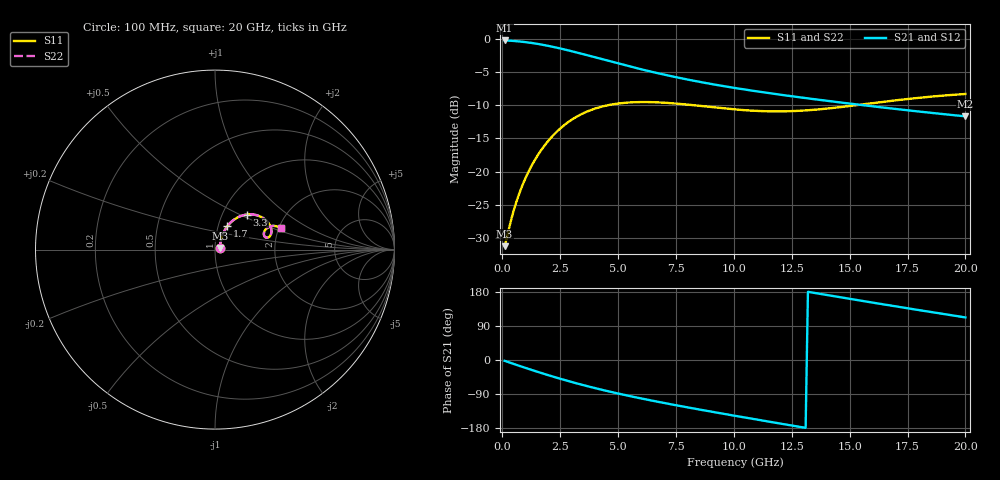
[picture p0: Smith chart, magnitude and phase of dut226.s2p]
! Touchstone file exported from HFSS 2024.1.0
!  File:  C:/UserFiles/LocalFiles/RDL_TSV_Batchsim/temp_RDL_TSV_226_1779450616.aedt
!  Generated:  08:07:08 PM May 22, 2026
!  Design:  RDL_TSV
!  Project:  temp_RDL_TSV_226_1779450616
!  Setup:  Setup1
!  Solution:  Sweep
! Variables:
!  dtsv = 7.03um
!  hbump = 3um
!  htsv = 81.23um
!  ldown = 590.29um
!  lrdl = 453.11um
!  p = 40
!  p1 = 58.65um
!  rhole = 10um
!  subl = 3583.31um
!  t = 450um
!  tdown = 3.5um
!  trdl = 2.37um
!  viad = 10um
!  wdown = 11.94um
!  wrdl = 27.11um
!  xbump = 18um
# GHz S MA R 50.000000
! Terminal data exported
! Port[1] = TM1_1_T1
! Port[2] = TM1_4_T1
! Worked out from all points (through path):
!   200 points, 100 MHz to 20 GHz, reference 50 ohm
!   highest |S21| = -0.23 dB at 100 MHz (marker M1); lowest = -11.7 dB at 20 GHz (marker M2)
!   group delay of S21, straight-line fit = 32.3 ps
!   lowest |S11| = -31.2 dB at 100 MHz (marker M3), VSWR 1.06, Z = 52.7 + j0.923 ohm
!   |S11| at or under -10 dB: start of sweep to 4.555 GHz; 8.278 GHz to 15.27 GHz (6.992 GHz wide, 59.4 % of centre)
!   |S22| runs from -31.2 to -8.3 dB; largest |S21 - S12| = 2e-14
!   S11 on the Smith chart (normalised r, x): 100 MHz: 1.05, +0.02; 1.7 GHz: 1.11, +0.29; 3.3 GHz: 1.30, +0.55; 20 GHz: 2.04, +0.58
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0.1  0.0274 18.6  0.9739 -2.2  0.9739 -2.2  0.0274 18.6
! Gamma 0 0 0 0
! Port Impedance 50 0 50 0
0.5  0.05138 52.6  0.9654 -10.6  0.9654 -10.6  0.05137 52.6
0.8  0.07349 60.0  0.9549 -16.8  0.9549 -16.8  0.07349 60.0
1.2  0.1053 63.1  0.9363 -24.9  0.9363 -24.9  0.1053 63.1
1.7  0.1468 62.2  0.9064 -34.6  0.9064 -34.6  0.1469 62.2
2.1  0.1799 59.5  0.8783 -42.2  0.8783 -42.2  0.1799 59.5
2.5  0.2112 55.9  0.8478 -49.4  0.8478 -49.4  0.2113 56.0
2.9  0.2397 51.8  0.8158 -56.4  0.8158 -56.4  0.2398 51.9
3.3  0.2645 47.6  0.7834 -63.1  0.7834 -63.1  0.2647 47.6
3.5  0.2754 45.4  0.7671 -66.3  0.7671 -66.3  0.2756 45.5
4.2  0.3055 38.2  0.7119 -77.1  0.7119 -77.1  0.3058 38.3
5.1  0.3274 30.1  0.6468 -89.8  0.6468 -89.8  0.3277 30.1
5.9  0.3342 24.2  0.5961 -100.3  0.5961 -100.3  0.3345 24.2
6.8  0.332 19.0  0.5473 -111.2  0.5473 -111.2  0.3324 19.0
8.3  0.3159 13.9  0.4827 -128.3  0.4827 -128.3  0.3163 13.9
10.1  0.2936 13.1  0.4254 -147.8  0.4254 -147.8  0.2941 13.1
11.7  0.2844 15.9  0.3864 -164.6  0.3864 -164.6  0.2848 15.9
13.4  0.2917 19.9  0.3526 177.8  0.3526 177.8  0.2922 20.0
15.1  0.3136 22.5  0.324 160.5  0.324 160.5  0.3141 22.5
16.7  0.3397 22.6  0.3004 144.4  0.3004 144.4  0.3403 22.7
18.3  0.3643 21.0  0.2798 128.7  0.2798 128.7  0.3651 21.1
20  0.3845 18.2  0.2609 112.3  0.2609 112.3  0.3854 18.3
